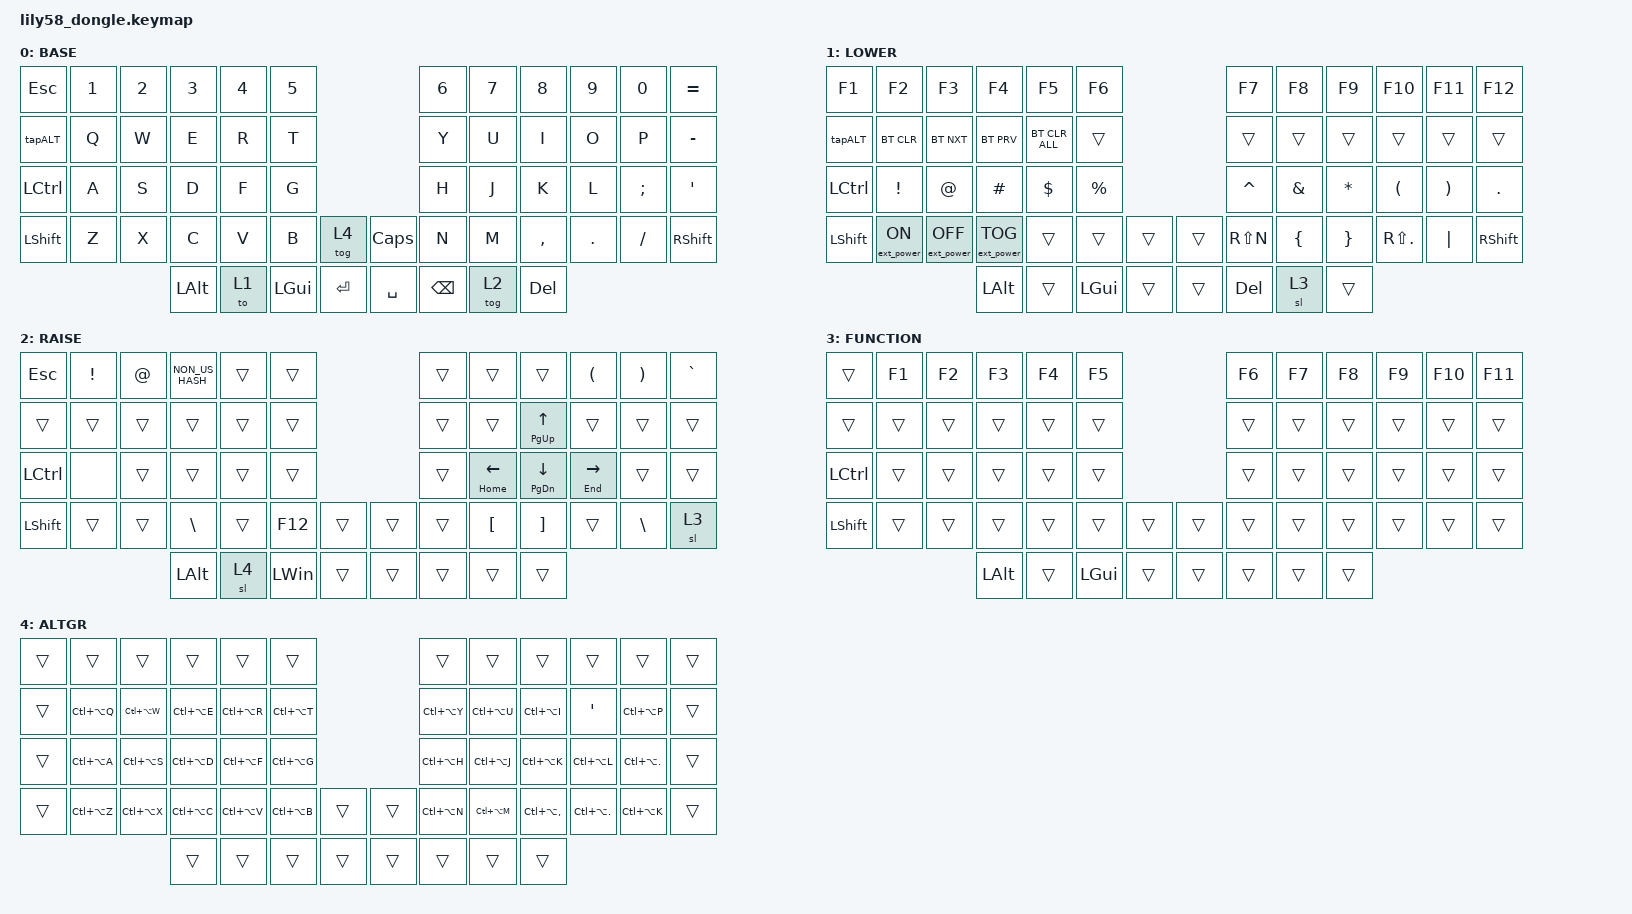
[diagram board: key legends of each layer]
/*
 * Copyright (c) 2020 The ZMK Contributors
 *
 * SPDX-License-Identifier: MIT
 */

#include <behaviors.dtsi>
#include <dt-bindings/zmk/bt.h>
#include <dt-bindings/zmk/ext_power.h>
#include <dt-bindings/zmk/keys.h>

/ {
    combos {
        compatible = "zmk,combos";

        escape {
            bindings = <&kp RIGHT_PARENTHESIS>;
            key-positions = <10 56>;
            layers = <2>;
        };

        left_par {
            bindings = <&kp LEFT_PARENTHESIS>;
            key-positions = <56 9>;
            layers = <2>;
        };
    };

    behaviors {
        pgup: pgup {
            compatible = "zmk,behavior-hold-tap";
            label = "PGUP";
            bindings = <&kp>, <&kp>;

            #binding-cells = <2>;
            flavor = "tap-preferred";
            tapping-term-ms = <200>;
            hold-trigger-key-positions = <33>;
        };

        tapALT: tapALT {
            compatible = "zmk,behavior-tap-dance";
            label = "TAPALT";
            #binding-cells = <0>;
            bindings = <&kp TAB>, <&kp LA(TAB)>;
        };
    };

    keymap {
        compatible = "zmk,keymap";

        default_layer {
            label = "BASE";

            bindings = <
&kp ESC         &kp NUMBER_1  &kp NUMBER_2  &kp NUMBER_3  &kp N4  &kp N5                                    &kp N6         &kp N7  &kp N8     &kp N9   &kp N0    &kp EQUAL
&tapALT         &kp Q         &kp W         &kp E         &kp R   &kp T                                     &kp Y          &kp U   &kp I      &kp O    &kp P     &kp MINUS
&kp LCTRL       &kp A         &kp S         &kp D         &kp F   &kp G                                     &kp H          &kp J   &kp K      &kp L    &kp SEMI  &kp SQT
&kp LEFT_SHIFT  &kp Z         &kp X         &kp C         &kp V   &kp B         &tog 4        &kp CAPSLOCK  &kp N          &kp M   &kp COMMA  &kp DOT  &kp FSLH  &kp RIGHT_SHIFT
                                            &kp LALT      &to 1   &kp LEFT_GUI  &kp RETURN    &kp SPACE     &kp BACKSPACE  &tog 2  &kp DEL
            >;
        };

        lower_layer {
            label = "LOWER";

            bindings = <
&kp F1            &kp F2            &kp F3             &kp F4             &kp F5          &kp F6                          &kp F7      &kp F8          &kp F9           &kp F10         &kp F11   &kp F12
&tapALT           &bt BT_CLR        &bt BT_NXT         &bt BT_PRV         &bt BT_CLR_ALL  &trans                          &trans      &trans          &trans           &trans          &trans    &trans
&kp LEFT_CONTROL  &kp EXCL          &kp AT             &kp HASH           &kp DOLLAR      &kp PRCNT                       &kp CARET   &kp AMPS        &kp ASTRK        &kp LPAR        &kp RPAR  &kp DOT
&kp LEFT_SHIFT    &ext_power EP_ON  &ext_power EP_OFF  &ext_power EP_TOG  &trans          &trans        &trans    &trans  &kp RS(N)   &kp LEFT_BRACE  &kp RIGHT_BRACE  &kp RS(PERIOD)  &kp PIPE  &kp RIGHT_SHIFT
                                                       &kp LEFT_ALT       &trans          &kp LEFT_GUI  &trans    &trans  &kp DELETE  &sl 3           &trans
            >;
        };

        raise_layer {
            label = "RAISE";

            bindings = <
&kp ESC           &kp EXCL  &kp AT  &kp NON_US_HASH  &trans  &trans                          &trans  &trans            &trans                &kp LEFT_PARENTHESIS  &kp RIGHT_PARENTHESIS  &kp GRAVE
&trans            &trans    &trans  &trans           &trans  &trans                          &trans  &trans            &pgup PG_UP UP_ARROW  &trans                &trans                 &trans
&kp LEFT_CONTROL  &none     &trans  &trans           &trans  &trans                          &trans  &pgup HOME LEFT   &pgup PG_DN DOWN      &pgup END RIGHT       &trans                 &trans
&kp LEFT_SHIFT    &trans    &trans  &kp BACKSLASH    &trans  &kp F12       &trans    &trans  &trans  &kp LEFT_BRACKET  &kp RIGHT_BRACKET     &trans                &kp BACKSLASH          &sl 3
                                    &kp LEFT_ALT     &sl 4   &kp LEFT_WIN  &trans    &trans  &trans  &trans            &trans
            >;
        };

        function_layer {
            bindings = <
&trans          &kp F1  &kp F2  &kp F3        &kp F4  &kp F5                          &kp F6  &kp F7  &kp F8  &kp F9  &kp F10  &kp F11
&trans          &trans  &trans  &trans        &trans  &trans                          &trans  &trans  &trans  &trans  &trans   &trans
&kp LCTRL       &trans  &trans  &trans        &trans  &trans                          &trans  &trans  &trans  &trans  &trans   &trans
&kp LEFT_SHIFT  &trans  &trans  &trans        &trans  &trans        &trans    &trans  &trans  &trans  &trans  &trans  &trans   &trans
                                &kp LEFT_ALT  &trans  &kp LEFT_GUI  &trans    &trans  &trans  &trans  &trans
            >;

            label = "FUNCTION";
        };

        alt_gr_layer {
            bindings = <
&trans  &trans         &trans         &trans         &trans         &trans                           &trans         &trans         &trans             &trans              &trans              &trans
&trans  &kp LC(LA(Q))  &kp LC(LA(W))  &kp LC(LA(E))  &kp LC(LA(R))  &kp LC(LA(T))                    &kp LC(LA(Y))  &kp LC(LA(U))  &kp LC(LA(I))      &kp SINGLE_QUOTE    &kp LC(LA(P))       &trans
&trans  &kp LC(LA(A))  &kp LC(LA(S))  &kp LC(LA(D))  &kp LC(LA(F))  &kp LC(LA(G))                    &kp LC(LA(H))  &kp LC(LA(J))  &kp LC(LA(K))      &kp LC(LA(L))       &kp LC(LA(PERIOD))  &trans
&trans  &kp LC(LA(Z))  &kp LC(LA(X))  &kp LC(LA(C))  &kp LC(LA(V))  &kp LC(LA(B))  &trans    &trans  &kp LC(LA(N))  &kp LC(LA(M))  &kp LC(LA(COMMA))  &kp LC(LA(PERIOD))  &kp LC(LA(K))       &trans
                                      &trans         &trans         &trans         &trans    &trans  &trans         &trans         &trans
            >;

            label = "ALTGR";
        };
    };
};
